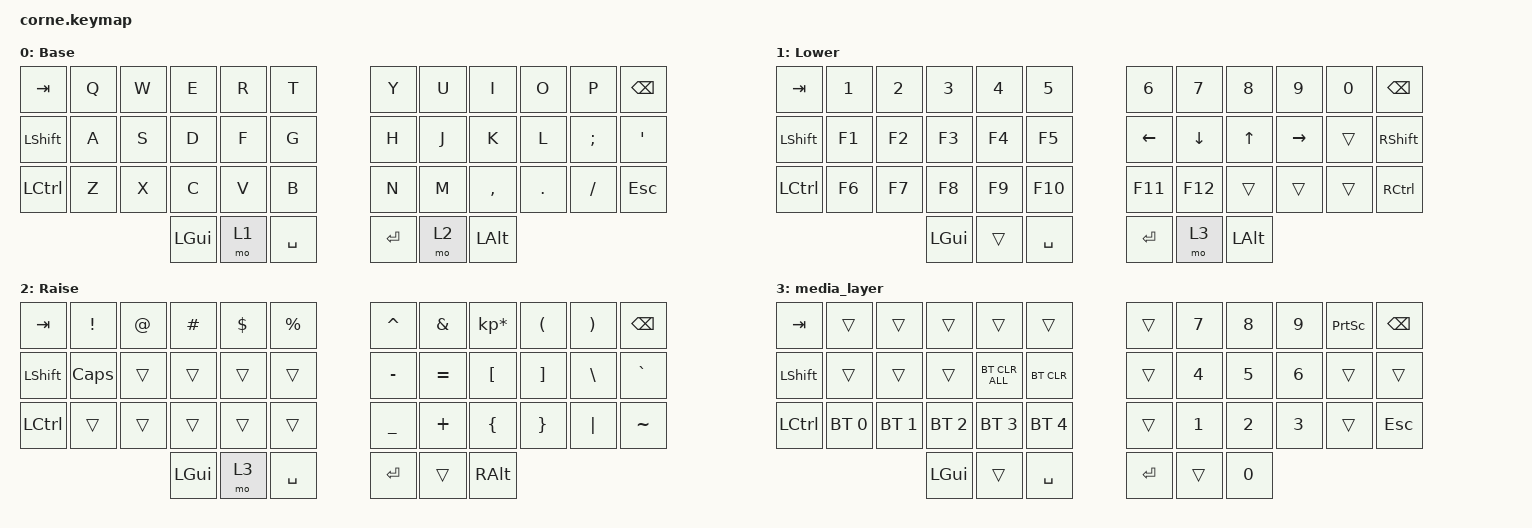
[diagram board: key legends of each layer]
/*
 * Copyright (c) 2020 The ZMK Contributors
 *
 * SPDX-License-Identifier: MIT
 */

#include <behaviors.dtsi>
#include <dt-bindings/zmk/bt.h>
#include <dt-bindings/zmk/keys.h>

/ {
    keymap {
        compatible = "zmk,keymap";

        default_layer {
            // -----------------------------------------------------------------------------------------
            // |  TAB |  Q  |  W  |  E  |  R  |  T  |   |  Y  |  U   |  I  |  O  |  P  | BKSP |
            // | CTRL |  A  |  S  |  D  |  F  |  G  |   |  H  |  J   |  K  |  L  |  ;  |  '   |
            // | SHFT |  Z  |  X  |  C  |  V  |  B  |   |  N  |  M   |  ,  |  .  |  /  | ESC  |
            //                    | GUI | LWR | SPC |   | ENT | RSE  | ALT |

            display-name = "Base";
            bindings = <
&kp TAB    &kp Q  &kp W  &kp E     &kp R  &kp T        &kp Y    &kp U  &kp I      &kp O    &kp P     &kp BSPC
&kp LSHFT  &kp A  &kp S  &kp D     &kp F  &kp G        &kp H    &kp J  &kp K      &kp L    &kp SEMI  &kp SQT
&kp LCTRL  &kp Z  &kp X  &kp C     &kp V  &kp B        &kp N    &kp M  &kp COMMA  &kp DOT  &kp FSLH  &kp ESC
                         &kp LGUI  &mo 1  &kp SPACE    &kp RET  &mo 2  &kp LALT
            >;
        };

        lower_layer {
            // -----------------------------------------------------------------------------------------
            // |  TAB |  1  |  2  |  3  |  4  |  5  |   |  6  |  7  |  8  |  9  |  0  | BKSP |
            // | BTCLR| BT1 | BT2 | BT3 | BT4 | BT5 |   | LFT | DWN |  UP | RGT |     |      |
            // | SHFT |     |     |     |     |     |   |     |     |     |     |     |      |
            //                    | GUI |     | SPC |   | ENT |     | ALT |

            display-name = "Lower";
            bindings = <
&kp TAB    &kp N1  &kp N2  &kp N3    &kp N4  &kp N5       &kp N6    &kp N7    &kp N8    &kp N9     &kp N0  &kp BSPC
&kp LSHFT  &kp F1  &kp F2  &kp F3    &kp F4  &kp F5       &kp LEFT  &kp DOWN  &kp UP    &kp RIGHT  &trans  &kp RSHFT
&kp LCTRL  &kp F6  &kp F7  &kp F8    &kp F9  &kp F10      &kp F11   &kp F12   &trans    &trans     &trans  &kp RCTRL
                           &kp LGUI  &trans  &kp SPACE    &kp RET   &mo 3     &kp LALT
            >;
        };

        raise_layer {
            // -----------------------------------------------------------------------------------------
            // |  TAB |  !  |  @  |  #  |  $  |  %  |   |  ^  |  &  |  *  |  (  |  )  | BKSP |
            // | CTRL |     |     |     |     |     |   |  -  |  =  |  [  |  ]  |  \  |  `   |
            // | SHFT |     |     |     |     |     |   |  _  |  +  |  {  |  }  | "|" |  ~   |
            //                    | GUI |     | SPC |   | ENT |     | ALT |

            display-name = "Raise";
            bindings = <
&kp TAB    &kp EXCL  &kp AT  &kp HASH  &kp DLLR  &kp PRCNT    &kp CARET  &kp AMPS   &kp KP_MULTIPLY  &kp LPAR  &kp RPAR  &kp BSPC
&kp LSHFT  &kp CLCK  &trans  &trans    &trans    &trans       &kp MINUS  &kp EQUAL  &kp LBKT         &kp RBKT  &kp BSLH  &kp GRAVE
&kp LCTRL  &trans    &trans  &trans    &trans    &trans       &kp UNDER  &kp PLUS   &kp LBRC         &kp RBRC  &kp PIPE  &kp TILDE
                             &kp LGUI  &mo 3     &kp SPACE    &kp RET    &trans     &kp RALT
            >;
        };

        media_layer {
            bindings = <
&kp TAB    &trans        &trans        &trans        &trans          &trans          &trans     &kp N7        &kp N8        &kp N9        &kp PRINTSCREEN  &kp BACKSPACE
&kp LSHFT  &trans        &trans        &trans        &bt BT_CLR_ALL  &bt BT_CLR      &trans     &kp NUMBER_4  &kp N5        &kp NUMBER_6  &trans           &trans
&kp LCTRL  &bt BT_SEL 0  &bt BT_SEL 1  &bt BT_SEL 2  &bt BT_SEL 3    &bt BT_SEL 4    &trans     &kp NUMBER_1  &kp NUMBER_2  &kp NUMBER_3  &trans           &kp ESCAPE
                                       &kp LGUI      &trans          &kp SPACE       &kp ENTER  &trans        &kp N0
            >;
        };
    };
};
